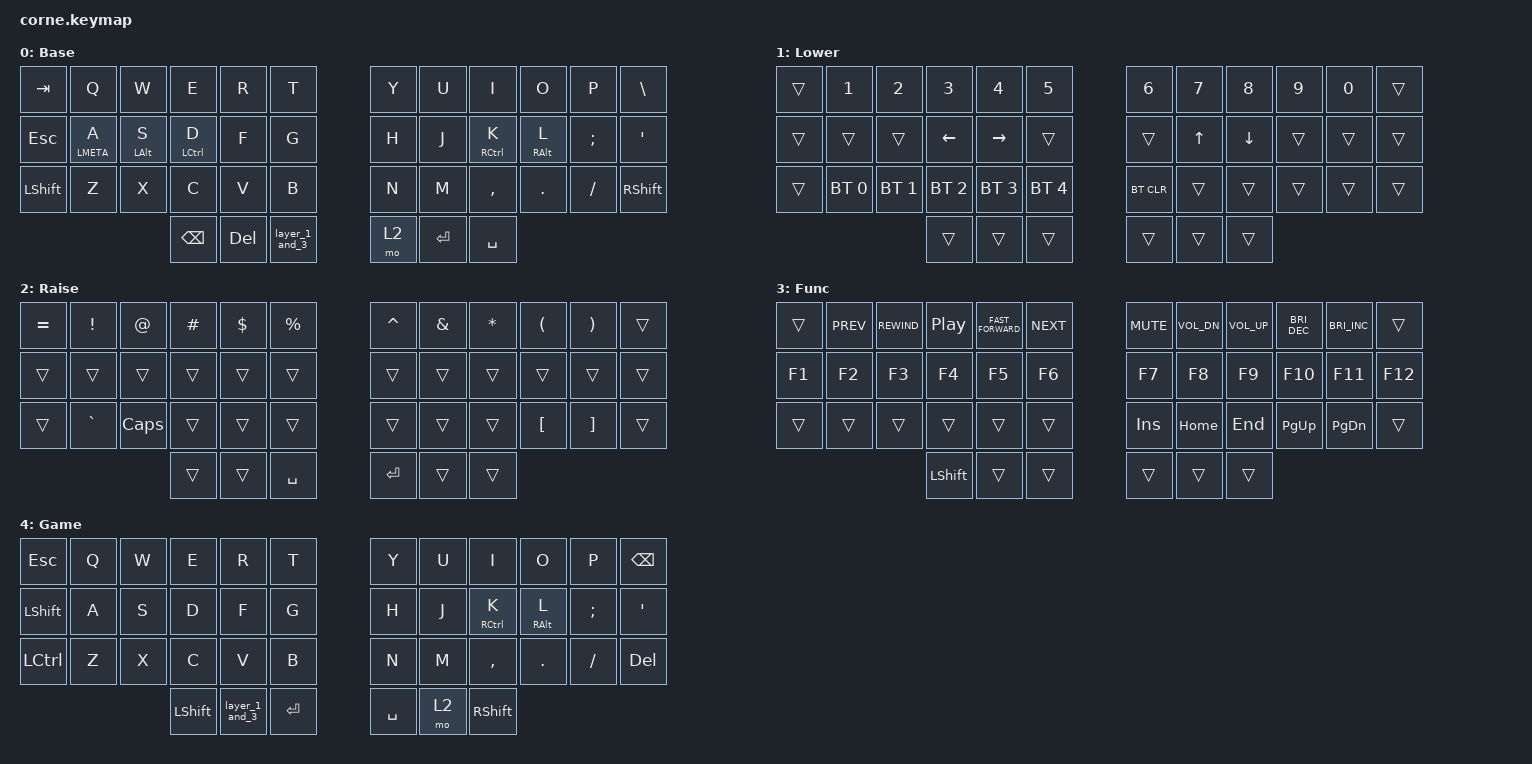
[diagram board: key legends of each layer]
/*
 * Copyright (c) 2020 The ZMK Contributors
 *
 * SPDX-License-Identifier: MIT
 */

#include <behaviors.dtsi>
#include <dt-bindings/zmk/bt.h>
#include <dt-bindings/zmk/keys.h>

/ {
    behaviors {
        hml: homerow_mods_left {
            compatible = "zmk,behavior-hold-tap";
            label = "HOMEROW_MODS_LEFT";
            bindings = <&kp>, <&kp>;

            #binding-cells = <2>;
            tapping-term-ms = <200>;
            hold-trigger-key-positions = <6 7 8 9 10 11 18 19 20 21 22 23 30 31 32 33 34 35 39 40 41>;
            flavor = "tap-preferred";
            retro-tap;
            quick-tap-ms = <200>;
        };

        hmr: homerow_mods_right {
            compatible = "zmk,behavior-hold-tap";
            label = "HOMEROW_MODS_RIGHT";
            bindings = <&kp>, <&kp>;

            #binding-cells = <2>;
            tapping-term-ms = <200>;
            hold-trigger-key-positions = <0 1 2 3 4 5 12 13 14 15 16 17 24 25 26 27 28 29 36 37 38>;
            flavor = "tap-preferred";
            retro-tap;
            quick-tap-ms = <200>;
        };

        layer_1_and_3: layer_1_and_3 {
            compatible = "zmk,behavior-tap-dance";
            label = "LAYER_1_AND_3";
            #binding-cells = <0>;
            bindings = <&mo 1>, <&mo 3>;

            tapping-term-ms = <400>;
        };

        hm_all: hm_all {
            compatible = "zmk,behavior-hold-tap";
            label = "HM_ALL";
            bindings = <&kp>, <&kp>;

            #binding-cells = <2>;
            tapping-term-ms = <250>;
            flavor = "tap-preferred";
        };
    };

    combos {
        compatible = "zmk,combos";

        toggle_gaming {
            bindings = <&tog 4>;
            key-positions = <37 40>;
        };
    };

    keymap {
        compatible = "zmk,keymap";

        default_layer {
            // -----------------------------------------------------------------------------------------
            // |  TAB |  Q  |  W  |  E  |  R  |  T  |   |  Y  |  U   |  I  |  O  |  P  | BKSP |
            // | SHFT |  A  |  S  |  D  |  F  |  G  |   |  H  |  J   |  K  |  L  |  ;  |  '   |
            // | CTRL |  Z  |  X  |  C  |  V  |  B  |   |  N  |  M   |  ,  |  .  |  /  | ESC  |
            //                    | GUI | LWR | SPC |   | ENT | RSE  | ALT |

            label = "Base";
            bindings = <
&kp TAB     &kp Q            &kp W            &kp E          &kp R       &kp T             &kp Y  &kp U      &kp I         &kp O             &kp P          &kp BACKSLASH
&kp ESCAPE  &hm_all LMETA A  &hml LEFT_ALT S  &hml LCTRL D   &kp F       &kp G             &kp H  &kp J      &hmr RCTRL K  &hmr RIGHT_ALT L  &kp SEMICOLON  &kp SQT
&kp LSHIFT  &kp Z            &kp X            &kp C          &kp V       &kp B             &kp N  &kp M      &kp COMMA     &kp DOT           &kp FSLH       &kp RIGHT_SHIFT
                                              &kp BACKSPACE  &kp DELETE  &layer_1_and_3    &mo 2  &kp ENTER  &kp SPACE
            >;
        };

        lower_layer {
            // -----------------------------------------------------------------------------------------
            // |  TAB |  1  |  2  |  3  |  4  |  5  |   |  6  |  7  |  8  |  9  |  0  | DEL  |
            // | SHFT | BT1 | BT2 | BT3 | BT4 | BT5 |   | LFT | DWN |  UP | RGT | CAPS|      |
            // | CTRL |     |     |     |     |     |   |     |     |     |     |     | BTCLR|
            //                    | GUI |     | SPC |   | ENT |     | ALT |

            label = "Lower";
            bindings = <
&trans  &kp NUMBER_1  &kp NUMBER_2  &kp NUMBER_3  &kp NUMBER_4  &kp NUMBER_5    &kp NUMBER_6  &kp NUMBER_7  &kp NUMBER_8  &kp NUMBER_9  &kp NUMBER_0  &trans
&trans  &trans        &trans        &kp LEFT      &kp RIGHT     &trans          &trans        &kp UP_ARROW  &kp DOWN      &trans        &trans        &trans
&trans  &bt BT_SEL 0  &bt BT_SEL 1  &bt BT_SEL 2  &bt BT_SEL 3  &bt BT_SEL 4    &bt BT_CLR    &trans        &trans        &trans        &trans        &trans
                                    &trans        &trans        &trans          &trans        &trans        &trans
            >;
        };

        Symbol_Layer {
            // -----------------------------------------------------------------------------------------
            // |  TAB |  !  |  @  |  #  |  $  |  %  |   |  ^  |  &  |  *  |  (  |  )  | BKSP |
            // | SHFT |     |     |     |     |     |   |  -  |  =  |  [  |  ]  |  \  |  `   |
            // | CTRL |     |     |     |     |     |   |  _  |  +  |  {  |  }  | "|" |  ~   |
            //                    | GUI |     | SPC |   | ENT |     | ALT |

            label = "Raise";
            bindings = <
&kp EQUAL  &kp EXCLAMATION  &kp AT    &kp HASH  &kp DOLLAR  &kp PERCENT    &kp CARET  &kp AMPERSAND  &kp ASTERISK  &kp LEFT_PARENTHESIS  &kp RIGHT_PARENTHESIS  &trans
&trans     &trans           &trans    &trans    &trans      &trans         &trans     &trans         &trans        &trans                &trans                 &trans
&trans     &kp GRAVE        &kp CAPS  &trans    &trans      &trans         &trans     &trans         &trans        &kp LEFT_BRACKET      &kp RIGHT_BRACKET      &trans
                                      &trans    &trans      &kp SPACE      &kp RET    &trans         &trans
            >;
        };

        Function_Layer {
            bindings = <
&trans  &kp C_PREV  &kp C_REWIND  &kp C_PLAY_PAUSE  &kp C_FAST_FORWARD  &kp C_NEXT    &kp C_MUTE  &kp C_VOL_DN  &kp C_VOL_UP  &kp C_BRI_DEC  &kp C_BRI_INC  &trans
&kp F1  &kp F2      &kp F3        &kp F4            &kp F5              &kp F6        &kp F7      &kp F8        &kp F9        &kp F10        &kp F11        &kp F12
&trans  &trans      &trans        &trans            &trans              &trans        &kp INSERT  &kp HOME      &kp END       &kp PAGE_UP    &kp PAGE_DOWN  &trans
                                  &kp LSHIFT        &trans              &trans        &trans      &trans        &trans
            >;

            label = "Func";
        };

        Game {
            label = "Game";
            bindings = <
&kp ESCAPE      &kp Q  &kp W  &kp E      &kp R           &kp T        &kp Y      &kp U  &kp I         &kp O             &kp P          &kp BSPC
&kp LEFT_SHIFT  &kp A  &kp S  &kp D      &kp F           &kp G        &kp H      &kp J  &hmr RCTRL K  &hmr RIGHT_ALT L  &kp SEMICOLON  &kp SQT
&kp LCTRL       &kp Z  &kp X  &kp C      &kp V           &kp B        &kp N      &kp M  &kp COMMA     &kp DOT           &kp FSLH       &kp DEL
                              &kp LSHFT  &layer_1_and_3  &kp ENTER    &kp SPACE  &mo 2  &kp RSHFT
            >;
        };
    };

    conditional_layers { compatible = "zmk,conditional-layers"; };
};
